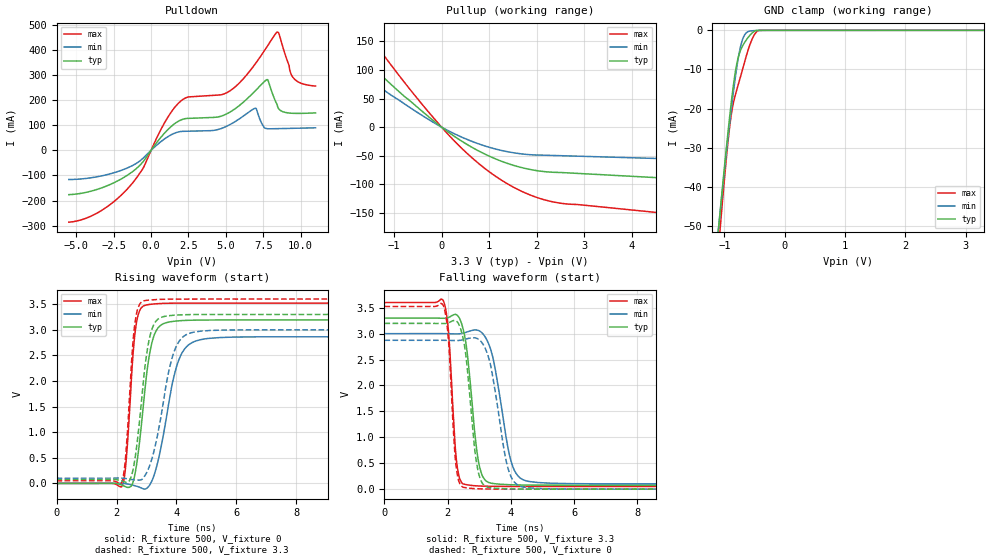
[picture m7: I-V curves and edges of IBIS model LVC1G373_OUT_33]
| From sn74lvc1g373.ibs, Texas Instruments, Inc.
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[Model]   LVC1G373_OUT_33
Model_type  3-state
Enable   Active-Low
Vref =   0
Rref =   500
Cref =   50p
Vmeas =   1.5
| variable   typ   min   max
C_comp   5.29pF   4.46pF   6.44pF
| C_pullup   8.11pF   5.29pF   9.38pF
| C_pulldown   8.23pF   5.99pF   11.74pF
| C_tri-state   5.29pF   4.46pF   6.44pF
[Temperature Range]   40   100   -40
| Ambient temperature   25   85   -40
[Voltage range]   3.3   3   3.6
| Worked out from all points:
|   slope of the pulldown table from 0 to 0.495 V, typ, clamps not added: 12.4 ohm
|   slope of the pullup table from 0 to 0.495 V, typ, clamps not added: 17.5 ohm
|   GND clamp passes 1 mA (typ) near -0.56 V on its own axis
|   rising waveform, R_fixture 500, V_fixture 0: 20-80 % time 378ps typ, 572ps min, 238ps max; typ from 0 V to 3.19 V
|   falling waveform, R_fixture 500, V_fixture 3.3: 20-80 % time 315ps typ, 475ps min, 202ps max; typ from 3.3 V to 0.076 V
|   rising waveform, R_fixture 500, V_fixture 3.3: 20-80 % time 369ps typ, 570ps min, 235ps max; typ from 0.076 V to 3.3 V
|   falling waveform, R_fixture 500, V_fixture 0: 20-80 % time 303ps typ, 453ps min, 194ps max; typ from 3.2 V to 0 V
[GND Clamp]
| LVC1G373_OUT_33
|   Voltage   I(typ)   I(min)   I(max)
-5.5V     -897.8mA   -832.4mA   -1.016A
-1.095V   -50.33mA   -50.14mA   -55.16mA
-1.065V   -45.41mA   -45.59mA   -49.63mA
-980mV    -31.93mA   -33.06mA   -34.73mA
-915mV    -22.35mA   -24.01mA   -24.95mA
-860mV    -15.14mA   -16.88mA   -19.23mA
-790mV    -8.202mA   -8.982mA   -14.91mA
-735mV    -5.197mA   -4.32mA    -11.95mA
-675mV    -3.353mA   -1.432mA   -8.641mA
-555mV    -899.1uA   -138.8uA   -2.764mA
-450mV    -10.12uA   -45.73uA   -166.1uA
3.3V      23.73pA    98.36nA    634.7pA
[Pulldown]
| LVC1G373_OUT_33
|   Voltage   I(typ)   I(min)   I(max)
-5.5V     -176.6mA   -116.3mA   -286.2mA
-3.535V   -154.2mA   -104.5mA   -247.3mA
-1.575V   -98.96mA   -70.04mA   -153.2mA
-565mV    -47.72mA   -32.93mA   -74.45mA
875mV     66.9mA     44.33mA    107mA
1.975V    120.1mA    74.7mA     195.4mA
5.04V     144.4mA    95.25mA    228.5mA
6.95V     235.6mA    167.2mA    342.7mA
7.74V     281.2mA    86.12mA    411.2mA
8.42V     182.5mA    86.1mA     470.1mA
9.48V     147.2mA    87.47mA    290.7mA
11V       148.7mA    89.5mA     255.6mA
[Pullup]
| LVC1G373_OUT_33
|   Voltage   I(typ)   I(min)   I(max)
-5.5V     471.4mA    370.4mA    661.1mA
-2.88V    227.2mA    175.2mA    323.5mA
-2.265V   173.3mA    132.6mA    248.1mA
-1.705V   126.1mA    95.63mA    181.7mA
-1.6V     117.5mA    88.94mA    169.5mA
-290mV    19.49mA    14.29mA    28.08mA
535mV     -30.29mA   -21.51mA   -45.84mA
1.35V     -62.49mA   -42.42mA   -97.53mA
1.815V    -73.33mA   -47.94mA   -117.2mA
2.205V    -78.19mA   -49.23mA   -128.2mA
7.355V    -101.1mA   -61.72mA   -173.1mA
11V       -117.5mA   -70.57mA   -203.8mA
[Ramp]
| LVC1G373_OUT_33
| variable   typ   min   max
dV/dt_r   1.96/3.90E-10   1.79/5.99E-10   2.15/2.48E-10
dV/dt_f   1.98/3.29E-10   1.78/4.92E-10   2.17/2.11E-10
R_load = 500
[Rising Waveform]
| LVC1G373_OUT_33
R_fixture =   500
C_fixture =   0
L_fixture =   0
V_fixture =   0
V_fixture_min = 0
V_fixture_max = 0
|   Time   V(typ)   V(min)   V(max)
0s        153.9pV    4.634nV    1.846nV
2.185ns   -32.4mV    2.567mV    -52.13mV
2.32ns    -69.31mV   -7.092mV   434.6mV
2.63ns    228.5mV    -48.02mV   2.995V
2.78ns    869.6mV    -76.72mV   3.385V
2.995ns   2.084V     -100.3mV   3.485V
3.335ns   2.995V     322.4mV    3.509V
4.06ns    3.175V     2.383V     3.52V
4.785ns   3.19V      2.805V     3.521V
24.99ns   3.192V     2.864V     3.521V
[Falling Waveform]
| LVC1G373_OUT_33
R_fixture =   500
C_fixture =   0
L_fixture =   0
V_fixture =   3.3
V_fixture_min = 3
V_fixture_max = 3.6
|   Time   V(typ)   V(min)   V(max)
0s        3.3V       3V         3.6V
1.87ns    3.296V     3V         3.627V
2.03ns    3.312V     2.998V     3.021V
2.28ns    3.364V     2.994V     553mV
2.495ns   3.078V     3.009V     99.85mV
2.98ns    521.7mV    3.059V     61.86mV
3.39ns    114mV      2.637V     55.27mV
4.01ns    85.15mV    533.3mV    52.85mV
4.575ns   78.79mV    148.5mV    52.35mV
24.99ns   75.85mV    101.7mV    52.11mV
[Rising Waveform]
| LVC1G373_OUT_33
R_fixture =   500
C_fixture =   0
L_fixture =   0
V_fixture =   3.3
V_fixture_min = 3
V_fixture_max = 3.6
|   Time   V(typ)   V(min)   V(max)
0s        75.82mV    101.6mV    52.09mV
2.175ns   48.81mV    104mV      14.35mV
2.31ns    24.24mV    95.2mV     569.8mV
2.605ns   442.3mV    68.26mV    3.083V
2.915ns   2.108V     123mV      3.566V
3.1ns     2.837V     338.4mV    3.58V
3.325ns   3.174V     823.5mV    3.59V
3.9ns     3.284V     2.537V     3.599V
4.555ns   3.297V     2.952V     3.6V
24.99ns   3.3V       3V         3.6V
[Falling Waveform]
| LVC1G373_OUT_33
R_fixture =   500
C_fixture =   0
L_fixture =   0
V_fixture =   0
V_fixture_min = 0
V_fixture_max = 0
|   Time   V(typ)   V(min)   V(max)
0s        3.197V     2.871V     3.525V
1.86ns    3.194V     2.871V     3.546V
2.025ns   3.208V     2.87V      2.889V
2.265ns   3.248V     2.867V     460.9mV
2.495ns   2.895V     2.881V     36.76mV
2.925ns   473.2mV    2.909V     8.517mV
3.305ns   31.54mV    2.522V     2.872mV
3.9ns     7.394mV    426.9mV    691.3uV
4.41ns    2.354mV    38mV       251.3uV
24.99ns   27.5uV     39.68uV    17.98uV
